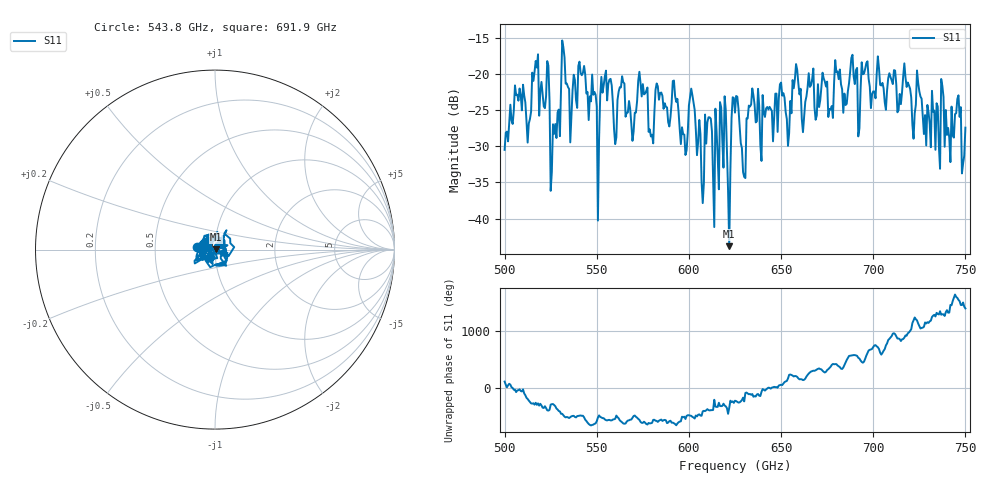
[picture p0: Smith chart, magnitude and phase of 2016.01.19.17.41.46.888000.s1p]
!Created with skrf (http://scikit-rf.org).
# GHz S RI R 50.0
!freq ReS11 ImS11
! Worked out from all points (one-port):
!   401 points, 500 GHz to 750 GHz, reference 50 ohm
!   lowest |S11| = -43.8 dB at 621.9 GHz (marker M1), VSWR 1.01, Z = 50.6 + j0.232 ohm
!   |S11| at or under -10 dB: start of sweep to end of sweep
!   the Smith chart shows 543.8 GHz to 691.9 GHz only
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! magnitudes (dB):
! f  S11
! 500 GHz  -30.5
! 506.9 GHz  -22.8
! 513.1 GHz  -26.8
! 516.9 GHz  -18.2
! 523.1 GHz  -18.2
! 526.2 GHz  -26.9
! 531.2 GHz  -15.3
! 541.9 GHz  -20.1
! 550.6 GHz  -40.3
! 553.8 GHz  -21.5
! 560 GHz  -29.7
! 562.5 GHz  -21.8
! 576.2 GHz  -22.7
! 579.4 GHz  -28.6
! 583.1 GHz  -21.7
! 593.8 GHz  -23.4
! 598.1 GHz  -31.2
! 601.9 GHz  -22.9
! 608.1 GHz  -35.0
! 618.1 GHz  -29.2
! 621.9 GHz  -43.8
! 625 GHz  -25.3
! 629.4 GHz  -33.6
! 633.8 GHz  -24.2
! 656.2 GHz  -20.8
! 687.5 GHz  -19.6
! 718.8 GHz  -21.2
! 750 GHz  -27.4
